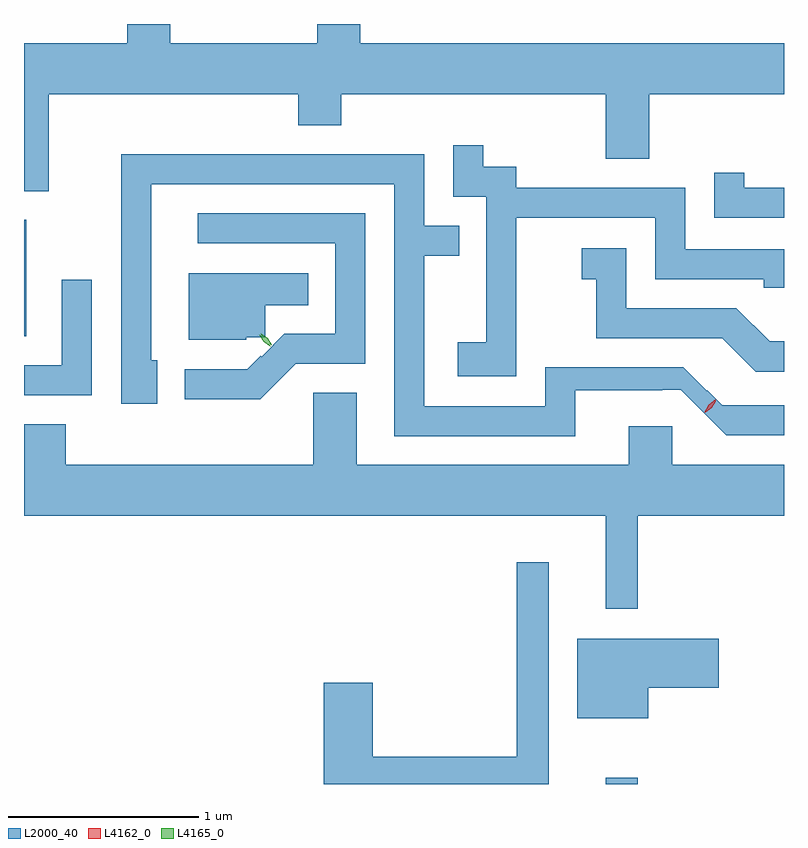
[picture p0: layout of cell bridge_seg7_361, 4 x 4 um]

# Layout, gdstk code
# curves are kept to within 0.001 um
import gdstk
lib = gdstk.Library(unit=1e-6, precision=1e-09)
def R(c, l, rs):  # rectangles x0, y0, x1, y1
    for r in rs: c.add(gdstk.rectangle(r[:2], r[2:], *l))
def P(c, l, *ps):  # polygons
    for p in ps: c.add(gdstk.Polygon(p, *l))
L2000_40 = (2000, 40)
L4162_0 = (4162, 0)
L4165_0 = (4165, 0)

bridge_seg7_361 = lib.new_cell('bridge_seg7_361')
R(bridge_seg7_361, L2000_40, [(1187.631,1795.045,1187.799,1795.078), (1184.568,1797.401,1184.579,1798.014)])
P(bridge_seg7_361, L2000_40, [(1184.699,1798.676),(1186.011,1798.676),(1186.011,1798.511),(1186.239,1798.511),(1186.239,1798.676),(1187.631,1798.676),(1187.631,1798.336),(1187.859,1798.336),(1187.859,1798.676),(1188.568,1798.676),(1188.568,1798.944),(1186.339,1798.944),(1186.339,1799.045),(1186.111,1799.045),(1186.111,1798.944),(1185.339,1798.944),(1185.339,1799.045),(1185.111,1799.045),(1185.111,1798.944),(1184.568,1798.944),(1184.568,1798.166),(1184.699,1798.166)],
  [(1187.159,1798.026),(1187.891,1798.026),(1187.891,1797.701),(1188.461,1797.701),(1188.461,1797.656),(1188.568,1797.656),(1188.568,1797.859),(1188.049,1797.859),(1188.049,1798.184),(1187.159,1798.184),(1187.159,1798.294),(1186.984,1798.294),(1186.984,1798.408),(1186.826,1798.408),(1186.826,1798.136),(1187.001,1798.136),(1187.001,1797.369),(1186.851,1797.369),(1186.851,1797.191),(1187.159,1797.191)],
  [(1187.469,1797.118),(1188.025,1797.119),(1188.263,1796.881),(1188.568,1796.881),(1188.568,1797.039),(1188.242,1797.038),(1188.039,1797.239),(1187.311,1797.239),(1187.311,1797.034),(1186.674,1797.034),(1186.674,1797.826),(1186.858,1797.826),(1186.858,1797.984),(1186.674,1797.984),(1186.674,1798.359),(1185.081,1798.359),(1185.081,1797.046),(1185.269,1797.046),(1185.269,1797.274),(1185.239,1797.274),(1185.239,1798.201),(1186.516,1798.201),(1186.516,1796.876),(1187.469,1796.876)],
  [(1188.568,1798.184),(1188.359,1798.184),(1188.359,1798.263),(1188.201,1798.263),(1188.201,1798.026),(1188.568,1798.026)],
  [(1185.997,1797.256),(1186.364,1797.256),(1186.364,1798.049),(1185.483,1798.049),(1185.483,1797.891),(1186.206,1797.891),(1186.206,1797.414),(1185.938,1797.414),(1185.819,1797.295),(1185.814,1797.3),(1185.744,1797.229),(1185.414,1797.229),(1185.414,1797.071),(1185.812,1797.071)],
  [(1188.568,1797.374),(1188.492,1797.374),(1188.317,1797.549),(1187.739,1797.549),(1187.739,1797.864),(1187.503,1797.864),(1187.503,1797.701),(1187.581,1797.701),(1187.581,1797.391),(1188.244,1797.391),(1188.419,1797.216),(1188.568,1797.216)],
  [(1185.738,1797.396),(1185.838,1797.396),(1185.838,1797.566),(1186.063,1797.566),(1186.063,1797.734),(1185.436,1797.734),(1185.436,1797.382),(1185.738,1797.382)],
  [(1184.924,1797.698),(1184.766,1797.698),(1184.766,1797.249),(1184.568,1797.249),(1184.568,1797.091),(1184.924,1797.091)],
  [(1187.799,1796.456),(1188.568,1796.456),(1188.568,1796.724),(1187.979,1796.724),(1187.979,1796.929),(1187.751,1796.929),(1187.751,1796.724),(1186.319,1796.724),(1186.319,1797.104),(1186.091,1797.104),(1186.091,1796.724),(1184.789,1796.724),(1184.789,1796.939),(1184.568,1796.939),(1184.568,1796.456),(1187.631,1796.456),(1187.631,1795.968),(1187.799,1795.968)],
  [(1187.329,1796.213),(1187.161,1796.213),(1187.161,1795.189),(1186.404,1795.189),(1186.404,1795.579),(1186.146,1795.579),(1186.146,1795.045),(1187.329,1795.045)],
  [(1187.854,1795.551),(1188.224,1795.551),(1188.224,1795.809),(1187.481,1795.809),(1187.481,1795.391),(1187.854,1795.391)])
P(bridge_seg7_361, L4162_0, [(1188.148,1796.998),(1188.148,1796.999),(1188.171,1797.04),(1188.209,1797.069),(1188.21,1797.069),(1188.21,1797.068),(1188.186,1797.027),(1188.149,1796.998)],
  [(1188.154,1797.001),(1188.154,1797.002),(1188.175,1797.038),(1188.209,1797.061),(1188.21,1797.061),(1188.21,1797.06),(1188.189,1797.024),(1188.155,1797.001)])
P(bridge_seg7_361, L4165_0, [(1185.866,1797.347),(1185.829,1797.372),(1185.805,1797.41),(1185.805,1797.41),(1185.806,1797.41),(1185.843,1797.386),(1185.867,1797.347),(1185.867,1797.347)],
  [(1185.871,1797.355),(1185.836,1797.378),(1185.815,1797.414),(1185.815,1797.414),(1185.816,1797.414),(1185.851,1797.391),(1185.872,1797.356),(1185.872,1797.355)])

lib.write_gds('bridge_seg7_361.gds')
